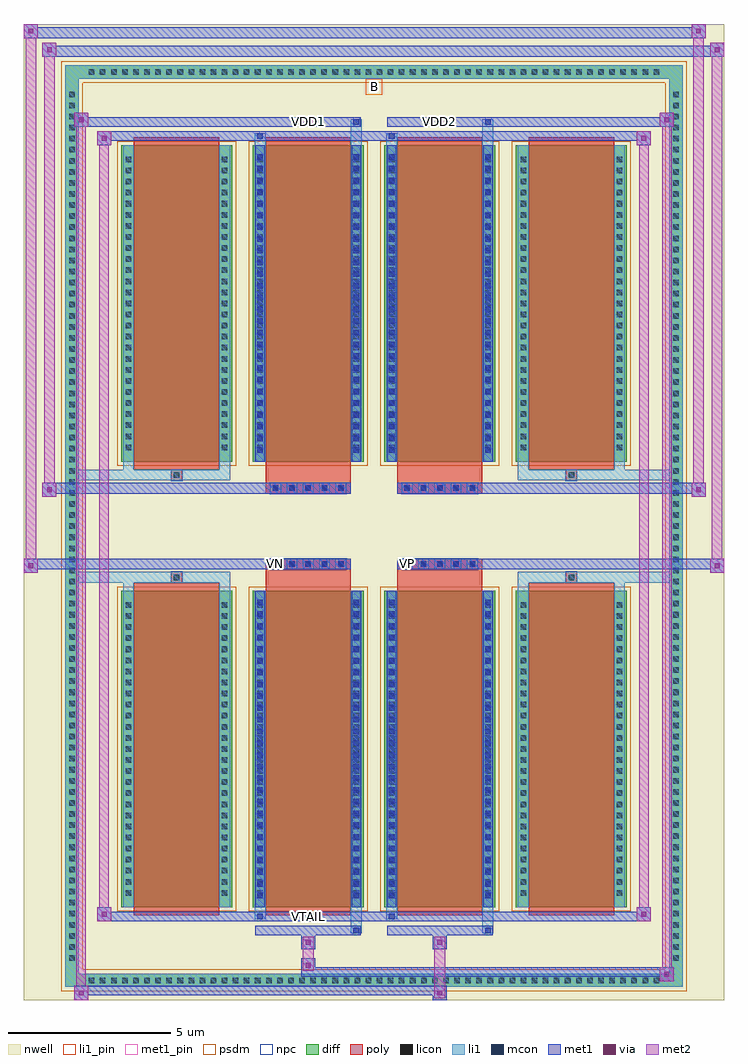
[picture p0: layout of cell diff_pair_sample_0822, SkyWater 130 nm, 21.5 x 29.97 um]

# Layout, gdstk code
import gdstk
lib = gdstk.Library(unit=1e-6, precision=5e-09)
def R(c, l, rs):  # rectangles x0, y0, x1, y1
    for r in rs: c.add(gdstk.rectangle(r[:2], r[2:], *l))
def A(c, l, x, y, w, h, nx, ny, dx, dy):  # array of equal rectangles
    R(c, l, [(x+i*dx, y+j*dy, x+i*dx+w, y+j*dy+h) for i in range(nx) for j in range(ny)])
def P(c, l, *ps):  # polygons
    for p in ps: c.add(gdstk.Polygon(p, *l))
nwell = (64, 20)
diff = (65, 20)
poly = (66, 20)
licon = (66, 44)
li1_pin = (67, 16)
li1 = (67, 20)
mcon = (67, 44)
met1_pin = (68, 16)
met1 = (68, 20)
via = (68, 44)
met2 = (69, 20)
psdm = (94, 20)
npc = (95, 20)

diff_pair_sample_0822 = lib.new_cell('diff_pair_sample_0822')
R(diff_pair_sample_0822, nwell, [(-10.75,-14.55,10.75,15.42), (-8.07,-12.74,-0.01,-0.8), (0.01,-12.74,8.07,-0.8), (-8.07,0.8,-0.01,12.74), (0.01,0.8,8.07,12.74)])
A(diff_pair_sample_0822, diff, -8.875, -14.15, 0.41, 0.41, 52, 2, 0.34, 27.89)
A(diff_pair_sample_0822, diff, -9.48, -13.465, 0.41, 0.41, 1, 79, 0, 0.34)
A(diff_pair_sample_0822, diff, 9.07, -13.465, 0.41, 0.41, 1, 79, 0, 0.34)
A(diff_pair_sample_0822, diff, -7.76, -11.695, 3.4, 9.71, 4, 2, 4.04, 13.68)
R(diff_pair_sample_0822, diff, [(-8.875,-14.15,8.875,-13.74), (-9.48,-13.465,-9.07,13.465), (9.07,-13.465,9.48,13.465), (-8.875,13.74,8.875,14.15)])
P(diff_pair_sample_0822, diff, [(9.48,14.15),(-9.48,14.15),(-9.48,-13.74),(-9.07,-13.74),(-9.07,13.74),(9.07,13.74),(9.07,-13.74),(-9.07,-13.74),(-9.48,-13.74),(-9.48,-14.15),(9.48,-14.15)])
A(diff_pair_sample_0822, poly, -7.37, -11.945, 2.62, 10.21, 4, 2, 4.04, 13.68)
A(diff_pair_sample_0822, poly, -3.185, -1.33, 0.33, 0.33, 5, 2, 0.5, 2.33)
A(diff_pair_sample_0822, poly, 0.855, -1.33, 0.33, 0.33, 5, 2, 0.5, 2.33)
R(diff_pair_sample_0822, poly, [(-6.225,-1.735,-5.895,-1.405), (-6.225,-1.735,-5.895,-1.405), (-3.33,-1.735,-0.71,-1.33), (0.71,-1.735,3.33,-1.33), (5.895,-1.735,6.225,-1.405), (5.895,-1.735,6.225,-1.405), (-3.33,-1.33,-0.71,-1), (0.71,-1.33,3.33,-1), (-3.33,1,-0.71,1.33), (0.71,1,3.33,1.33), (-3.33,1.33,-0.71,1.735), (0.71,1.33,3.33,1.735), (-6.225,1.405,-5.895,1.735), (-6.225,1.405,-5.895,1.735), (5.895,1.405,6.225,1.735), (5.895,1.405,6.225,1.735)])
A(diff_pair_sample_0822, licon, -8.755, -14.03, 0.17, 0.17, 52, 2, 0.34, 27.89)
A(diff_pair_sample_0822, licon, -9.36, -13.345, 0.17, 0.17, 1, 79, 0, 0.34)
A(diff_pair_sample_0822, licon, 9.19, -13.345, 0.17, 0.17, 1, 79, 0, 0.34)
A(diff_pair_sample_0822, licon, -7.62, -11.345, 0.17, 0.17, 1, 27, 0, 0.34)
A(diff_pair_sample_0822, licon, -4.67, -11.345, 0.17, 0.17, 1, 27, 0, 0.34)
A(diff_pair_sample_0822, licon, -3.58, -11.345, 0.17, 0.17, 1, 27, 0, 0.34)
A(diff_pair_sample_0822, licon, -0.63, -11.345, 0.17, 0.17, 1, 27, 0, 0.34)
A(diff_pair_sample_0822, licon, 0.46, -11.345, 0.17, 0.17, 1, 27, 0, 0.34)
A(diff_pair_sample_0822, licon, 3.41, -11.345, 0.17, 0.17, 1, 27, 0, 0.34)
A(diff_pair_sample_0822, licon, 4.5, -11.345, 0.17, 0.17, 1, 27, 0, 0.34)
A(diff_pair_sample_0822, licon, 7.45, -11.345, 0.17, 0.17, 1, 27, 0, 0.34)
A(diff_pair_sample_0822, licon, -3.105, -1.25, 0.17, 0.17, 5, 2, 0.5, 2.33)
A(diff_pair_sample_0822, licon, 0.935, -1.25, 0.17, 0.17, 5, 2, 0.5, 2.33)
A(diff_pair_sample_0822, licon, -7.62, 2.335, 0.17, 0.17, 1, 27, 0, 0.34)
A(diff_pair_sample_0822, licon, -4.67, 2.335, 0.17, 0.17, 1, 27, 0, 0.34)
A(diff_pair_sample_0822, licon, -3.58, 2.335, 0.17, 0.17, 1, 27, 0, 0.34)
A(diff_pair_sample_0822, licon, -0.63, 2.335, 0.17, 0.17, 1, 27, 0, 0.34)
A(diff_pair_sample_0822, licon, 0.46, 2.335, 0.17, 0.17, 1, 27, 0, 0.34)
A(diff_pair_sample_0822, licon, 3.41, 2.335, 0.17, 0.17, 1, 27, 0, 0.34)
A(diff_pair_sample_0822, licon, 4.5, 2.335, 0.17, 0.17, 1, 27, 0, 0.34)
A(diff_pair_sample_0822, licon, 7.45, 2.335, 0.17, 0.17, 1, 27, 0, 0.34)
R(diff_pair_sample_0822, licon, [(-6.145,-1.655,-5.975,-1.485), (5.975,-1.655,6.145,-1.485), (-6.145,1.485,-5.975,1.655), (5.975,1.485,6.145,1.655)])
R(diff_pair_sample_0822, li1_pin, [(-0.25,13.24,0.25,13.74)])
A(diff_pair_sample_0822, li1, -8.835, -14.11, 0.33, 0.33, 52, 2, 0.34, 27.89)
A(diff_pair_sample_0822, li1, -9.44, -13.425, 0.33, 0.33, 1, 79, 0, 0.34)
A(diff_pair_sample_0822, li1, 9.11, -13.425, 0.33, 0.33, 1, 79, 0, 0.34)
A(diff_pair_sample_0822, li1, -7.7, -11.425, 0.33, 0.33, 1, 27, 0, 0.34)
A(diff_pair_sample_0822, li1, -4.75, -11.425, 0.33, 0.33, 1, 27, 0, 0.34)
A(diff_pair_sample_0822, li1, -3.66, -11.425, 0.33, 0.33, 1, 27, 0, 0.34)
A(diff_pair_sample_0822, li1, -3.58, -11.425, 0.17, 0.17, 1, 26, 0, 0.36)
A(diff_pair_sample_0822, li1, -0.71, -11.425, 0.33, 0.33, 1, 27, 0, 0.34)
A(diff_pair_sample_0822, li1, -0.63, -11.425, 0.17, 0.17, 1, 26, 0, 0.36)
A(diff_pair_sample_0822, li1, 0.38, -11.425, 0.33, 0.33, 1, 27, 0, 0.34)
A(diff_pair_sample_0822, li1, 0.46, -11.425, 0.17, 0.17, 1, 26, 0, 0.36)
A(diff_pair_sample_0822, li1, 3.33, -11.425, 0.33, 0.33, 1, 27, 0, 0.34)
A(diff_pair_sample_0822, li1, 3.41, -11.425, 0.17, 0.17, 1, 26, 0, 0.36)
A(diff_pair_sample_0822, li1, 4.42, -11.425, 0.33, 0.33, 1, 27, 0, 0.34)
A(diff_pair_sample_0822, li1, 7.37, -11.425, 0.33, 0.33, 1, 27, 0, 0.34)
A(diff_pair_sample_0822, li1, -3.185, -1.33, 0.33, 0.33, 5, 2, 0.5, 2.33)
A(diff_pair_sample_0822, li1, 0.855, -1.33, 0.33, 0.33, 5, 2, 0.5, 2.33)
A(diff_pair_sample_0822, li1, -7.7, 2.255, 0.33, 0.33, 1, 27, 0, 0.34)
A(diff_pair_sample_0822, li1, -4.75, 2.255, 0.33, 0.33, 1, 27, 0, 0.34)
A(diff_pair_sample_0822, li1, -3.66, 2.255, 0.33, 0.33, 1, 27, 0, 0.34)
A(diff_pair_sample_0822, li1, -3.58, 2.255, 0.17, 0.17, 1, 26, 0, 0.36)
A(diff_pair_sample_0822, li1, -0.71, 2.255, 0.33, 0.33, 1, 27, 0, 0.34)
A(diff_pair_sample_0822, li1, -0.63, 2.255, 0.17, 0.17, 1, 26, 0, 0.36)
A(diff_pair_sample_0822, li1, 0.38, 2.255, 0.33, 0.33, 1, 27, 0, 0.34)
A(diff_pair_sample_0822, li1, 0.46, 2.255, 0.17, 0.17, 1, 26, 0, 0.36)
A(diff_pair_sample_0822, li1, 3.33, 2.255, 0.33, 0.33, 1, 27, 0, 0.34)
A(diff_pair_sample_0822, li1, 3.41, 2.255, 0.17, 0.17, 1, 26, 0, 0.36)
A(diff_pair_sample_0822, li1, 4.42, 2.255, 0.33, 0.33, 1, 27, 0, 0.34)
A(diff_pair_sample_0822, li1, 7.37, 2.255, 0.33, 0.33, 1, 27, 0, 0.34)
R(diff_pair_sample_0822, li1, [(-9.48,-14.15,-9.07,-13.74), (-9.48,-14.15,-9.07,-13.74), (-9.07,-14.15,9.07,-13.74), (9.07,-14.15,9.48,-13.74), (9.07,-14.15,9.48,-13.74), (-9.48,-13.74,-9.07,13.74), (9.07,-13.74,9.48,13.74), (-0.71,-12.5,-0.38,-11.695), (-0.63,-12.5,-0.46,-12.33), (3.33,-12.5,3.66,-11.695), (3.41,-12.5,3.58,-12.33), (-3.66,-12.07,-3.33,-11.695), (-3.58,-12.07,-3.41,-11.9), (0.38,-12.07,0.71,-11.695), (0.46,-12.07,0.63,-11.9), (-7.7,-11.695,-7.37,-1.985), (-4.75,-11.695,-4.42,-1.985), (-3.66,-11.695,-3.33,-1.985), (-0.71,-11.695,-0.38,-1.985), (0.38,-11.695,0.71,-1.985), (3.33,-11.695,3.66,-1.985), (4.42,-11.695,4.75,-1.985), (7.37,-11.695,7.7,-1.985), (-3.58,-11.425,-3.41,-2.255), (-0.63,-11.425,-0.46,-2.255), (0.46,-11.425,0.63,-2.255), (3.41,-11.425,3.58,-2.255), (-7.7,-1.985,-7.37,-1.405), (-4.75,-1.985,-4.42,-1.405), (4.42,-1.985,4.75,-1.405), (7.37,-1.985,7.7,-1.405), (-9.48,-1.735,-6.225,-1.405), (-7.7,-1.735,-6.225,-1.405), (-6.225,-1.735,-5.895,-1.405), (-5.895,-1.735,-4.42,-1.405), (4.42,-1.735,5.895,-1.405), (5.895,-1.735,6.225,-1.405), (5.895,-1.735,9.48,-1.405), (6.225,-1.735,7.7,-1.405), (-9.48,1.405,-6.225,1.735), (-7.7,1.405,-6.225,1.735), (-7.7,1.405,-7.37,1.985), (-6.225,1.405,-5.895,1.735), (-5.895,1.405,-4.42,1.735), (-4.75,1.405,-4.42,1.985), (4.42,1.405,5.895,1.735), (4.42,1.405,4.75,1.985), (5.895,1.405,6.225,1.735), (5.895,1.405,9.48,1.735), (6.225,1.405,7.7,1.735), (7.37,1.405,7.7,1.985), (-7.7,1.985,-7.37,11.695), (-4.75,1.985,-4.42,11.695), (-3.66,1.985,-3.33,11.695), (-0.71,1.985,-0.38,11.695), (0.38,1.985,0.71,11.695), (3.33,1.985,3.66,11.695), (4.42,1.985,4.75,11.695), (7.37,1.985,7.7,11.695), (-3.58,2.255,-3.41,11.425), (-0.63,2.255,-0.46,11.425), (0.46,2.255,0.63,11.425), (3.41,2.255,3.58,11.425), (-3.66,11.695,-3.33,12.07), (-0.71,11.695,-0.38,12.5), (0.38,11.695,0.71,12.07), (3.33,11.695,3.66,12.5), (-3.58,11.9,-3.41,12.07), (0.46,11.9,0.63,12.07), (-0.63,12.33,-0.46,12.5), (3.41,12.33,3.58,12.5), (-9.48,13.74,-9.07,14.15), (-9.48,13.74,-9.07,14.15), (-9.07,13.74,9.07,14.15), (9.07,13.74,9.48,14.15), (9.07,13.74,9.48,14.15)])
A(diff_pair_sample_0822, mcon, -3.58, -11.425, 0.17, 0.17, 1, 26, 0, 0.36)
A(diff_pair_sample_0822, mcon, -0.63, -11.425, 0.17, 0.17, 1, 26, 0, 0.36)
A(diff_pair_sample_0822, mcon, 0.46, -11.425, 0.17, 0.17, 1, 26, 0, 0.36)
A(diff_pair_sample_0822, mcon, 3.41, -11.425, 0.17, 0.17, 1, 26, 0, 0.36)
A(diff_pair_sample_0822, mcon, -3.105, -1.25, 0.17, 0.17, 5, 2, 0.5, 2.33)
A(diff_pair_sample_0822, mcon, 0.935, -1.25, 0.17, 0.17, 5, 2, 0.5, 2.33)
A(diff_pair_sample_0822, mcon, -3.58, 2.255, 0.17, 0.17, 1, 26, 0, 0.36)
A(diff_pair_sample_0822, mcon, -0.63, 2.255, 0.17, 0.17, 1, 26, 0, 0.36)
A(diff_pair_sample_0822, mcon, 0.46, 2.255, 0.17, 0.17, 1, 26, 0, 0.36)
A(diff_pair_sample_0822, mcon, 3.41, 2.255, 0.17, 0.17, 1, 26, 0, 0.36)
R(diff_pair_sample_0822, mcon, [(-0.63,-12.5,-0.46,-12.33), (3.41,-12.5,3.58,-12.33), (-3.58,-12.07,-3.41,-11.9), (0.46,-12.07,0.63,-11.9), (-3.58,11.9,-3.41,12.07), (0.46,11.9,0.63,12.07), (-0.63,12.33,-0.46,12.5), (3.41,12.33,3.58,12.5)])
R(diff_pair_sample_0822, met1_pin, [(-2.155,-12.11,-1.885,-11.84), (-3.155,-1.29,-2.885,-1.02), (0.885,-1.29,1.155,-1.02), (-2.155,12.29,-1.885,12.56), (1.885,12.29,2.155,12.56)])
A(diff_pair_sample_0822, met1, -3.64, -11.485, 0.29, 0.29, 1, 26, 0, 0.36)
A(diff_pair_sample_0822, met1, -0.69, -11.485, 0.29, 0.29, 1, 26, 0, 0.36)
A(diff_pair_sample_0822, met1, 0.4, -11.485, 0.29, 0.29, 1, 26, 0, 0.36)
A(diff_pair_sample_0822, met1, 3.35, -11.485, 0.29, 0.29, 1, 26, 0, 0.36)
A(diff_pair_sample_0822, met1, -3.165, -1.31, 0.29, 0.29, 5, 2, 0.5, 2.33)
A(diff_pair_sample_0822, met1, 0.875, -1.31, 0.29, 0.29, 5, 2, 0.5, 2.33)
A(diff_pair_sample_0822, met1, -3.64, 2.195, 0.29, 0.29, 1, 26, 0, 0.36)
A(diff_pair_sample_0822, met1, -0.69, 2.195, 0.29, 0.29, 1, 26, 0, 0.36)
A(diff_pair_sample_0822, met1, 0.4, 2.195, 0.29, 0.29, 1, 26, 0, 0.36)
A(diff_pair_sample_0822, met1, 3.35, 2.195, 0.29, 0.29, 1, 26, 0, 0.36)
R(diff_pair_sample_0822, met1, [(-9.21,-14.55,-8.78,-14.12), (1.805,-14.55,2.235,-14.12), (-9.21,-14.41,2.235,-14.12), (8.78,-13.98,9.21,-13.55), (-2.235,-13.84,9.21,-13.55), (-2.235,-13.7,-1.805,-13.27), (-2.235,-12.99,-1.805,-12.56), (1.805,-12.99,2.235,-12.56), (-3.64,-12.56,-0.4,-12.27), (-0.69,-12.56,-0.4,-12.27), (0.4,-12.56,3.64,-12.27), (3.35,-12.56,3.64,-12.27), (-8.5,-12.13,-8.07,-11.7), (-8.5,-12.13,-3.64,-11.84), (-3.64,-12.13,-3.35,-11.84), (-3.64,-12.13,-0.4,-11.84), (-0.4,-12.13,0.4,-11.84), (0.4,-12.13,0.69,-11.84), (0.4,-12.13,3.64,-11.84), (3.64,-12.13,8.5,-11.84), (8.07,-12.13,8.5,-11.7), (-3.64,-11.695,-3.35,-1.985), (-0.69,-11.695,-0.4,-1.985), (0.4,-11.695,0.69,-1.985), (3.35,-11.695,3.64,-1.985), (-10.75,-1.43,-10.32,-1), (10.32,-1.43,10.75,-1), (-10.75,-1.33,-0.71,-1), (-3.33,-1.33,-0.71,-1), (0.71,-1.33,3.33,-1), (0.71,-1.33,10.75,-1), (-10.18,0.9,-9.75,1.33), (9.75,0.9,10.18,1.33), (-10.18,1,-3.33,1.33), (-3.33,1,-0.71,1.33), (0.71,1,3.33,1.33), (3.33,1,10.18,1.33), (-3.64,1.985,-3.35,11.695), (-0.69,1.985,-0.4,11.695), (0.4,1.985,0.69,11.695), (3.35,1.985,3.64,11.695), (-8.5,11.7,-8.07,12.13), (8.07,11.7,8.5,12.13), (-8.5,11.84,-3.64,12.13), (-3.64,11.84,-3.35,12.13), (-3.64,11.84,-0.4,12.13), (-0.4,11.84,0.4,12.13), (0.4,11.84,0.69,12.13), (0.4,11.84,3.64,12.13), (3.64,11.84,8.5,12.13), (-9.21,12.27,-8.78,12.7), (-9.21,12.27,-3.64,12.56), (-3.64,12.27,-0.4,12.56), (-0.69,12.27,-0.4,12.56), (0.4,12.27,3.64,12.56), (3.35,12.27,3.64,12.56), (3.64,12.27,9.21,12.56), (8.78,12.27,9.21,12.7), (-10.18,14.42,-9.75,14.85), (-10.18,14.42,-8.07,14.75), (-8.07,14.42,8.07,14.75), (8.07,14.42,10.75,14.75), (10.32,14.42,10.75,14.85), (-10.75,14.99,-10.32,15.42), (-10.75,14.99,-8.07,15.32), (-8.07,14.99,8.07,15.32), (8.07,14.99,10.18,15.32), (9.75,14.99,10.18,15.42)])
R(diff_pair_sample_0822, via, [(-9.07,-14.41,-8.92,-14.26), (1.945,-14.41,2.095,-14.26), (8.92,-13.84,9.07,-13.69), (-2.095,-13.56,-1.945,-13.41), (-2.095,-12.85,-1.945,-12.7), (1.945,-12.85,2.095,-12.7), (-8.36,-11.99,-8.21,-11.84), (8.21,-11.99,8.36,-11.84), (-10.61,-1.29,-10.46,-1.14), (10.46,-1.29,10.61,-1.14), (-10.04,1.04,-9.89,1.19), (9.89,1.04,10.04,1.19), (-8.36,11.84,-8.21,11.99), (8.21,11.84,8.36,11.99), (-9.07,12.41,-8.92,12.56), (8.92,12.41,9.07,12.56), (-10.04,14.56,-9.89,14.71), (10.46,14.56,10.61,14.71), (-10.61,15.13,-10.46,15.28), (9.89,15.13,10.04,15.28)])
R(diff_pair_sample_0822, met2, [(-9.21,-14.55,-8.78,-14.12), (-9.14,-14.55,-8.85,12.7), (-8.85,-14.55,-8.78,-14.12), (-9.16,-14.5,-8.83,-14.17), (1.855,-14.5,2.185,-14.17), (1.855,-14.17,2.185,-12.94), (8.78,-13.98,9.21,-13.55), (8.85,-13.98,9.14,12.7), (9.14,-13.98,9.21,-13.55), (8.83,-13.93,9.16,-13.6), (-2.185,-13.65,-1.855,-13.32), (-2.185,-13.32,-1.855,-12.94), (-2.185,-12.94,-1.855,-12.61), (1.855,-12.94,2.185,-12.61), (-8.5,-12.13,-8.07,-11.7), (-8.43,-12.13,-8.14,12.13), (-8.14,-12.13,-8.07,-11.7), (8.07,-12.13,8.5,-11.7), (8.14,-12.13,8.43,12.13), (8.43,-12.13,8.5,-11.7), (-8.45,-12.08,-8.12,-11.75), (8.12,-12.08,8.45,-11.75), (-10.75,-1.43,-10.32,-1), (-10.7,-1.43,-10.37,15.42), (-10.37,-1.43,-10.32,-1), (10.32,-1.43,10.75,-1), (10.37,-1.43,10.7,14.85), (10.7,-1.43,10.75,-1), (-10.7,-1.38,-10.37,-1.05), (10.37,-1.38,10.7,-1.05), (-10.18,0.9,-9.75,1.33), (-10.13,0.9,-9.8,14.85), (-9.8,0.9,-9.75,1.33), (9.75,0.9,10.18,1.33), (9.8,0.9,10.13,15.42), (10.13,0.9,10.18,1.33), (-10.13,0.95,-9.8,1.28), (9.8,0.95,10.13,1.28), (-8.5,11.7,-8.07,12.13), (-8.14,11.7,-8.07,12.13), (8.07,11.7,8.5,12.13), (8.43,11.7,8.5,12.13), (-8.45,11.75,-8.12,12.08), (8.12,11.75,8.45,12.08), (-9.21,12.27,-8.78,12.7), (-8.85,12.27,-8.78,12.7), (8.78,12.27,9.21,12.7), (9.14,12.27,9.21,12.7), (-9.16,12.32,-8.83,12.65), (8.83,12.32,9.16,12.65), (-10.18,14.42,-9.75,14.85), (-9.8,14.42,-9.75,14.85), (10.32,14.42,10.75,14.85), (10.7,14.42,10.75,14.85), (-10.13,14.47,-9.8,14.8), (10.37,14.47,10.7,14.8), (-10.75,14.99,-10.32,15.42), (-10.37,14.99,-10.32,15.42), (9.75,14.99,10.18,15.42), (10.13,14.99,10.18,15.42), (-10.7,15.04,-10.37,15.37), (9.8,15.04,10.13,15.37)])
A(diff_pair_sample_0822, psdm, -7.89, -11.825, 3.66, 9.97, 4, 2, 4.04, 13.68)
P(diff_pair_sample_0822, psdm, [(9.61,14.28),(-9.61,14.28),(-9.61,-13.61),(-8.94,-13.61),(-8.94,13.61),(8.94,13.61),(8.94,-13.61),(-8.94,-13.61),(-9.61,-13.61),(-9.61,-14.28),(9.61,-14.28)])
A(diff_pair_sample_0822, npc, -3.205, -1.35, 0.37, 0.37, 5, 2, 0.5, 2.33)
A(diff_pair_sample_0822, npc, 0.835, -1.35, 0.37, 0.37, 5, 2, 0.5, 2.33)
R(diff_pair_sample_0822, npc, [(-6.245,-1.755,-5.875,-1.385), (5.875,-1.755,6.245,-1.385), (-3.205,-1.35,-2.335,-0.98), (-3.205,-1.35,-2.335,-0.98), (-2.705,-1.35,-1.835,-0.98), (-2.705,-1.35,-1.835,-0.98), (-2.205,-1.35,-1.335,-0.98), (-2.205,-1.35,-1.335,-0.98), (-1.705,-1.35,-0.835,-0.98), (-1.705,-1.35,-0.835,-0.98), (0.835,-1.35,1.705,-0.98), (0.835,-1.35,1.705,-0.98), (1.335,-1.35,2.205,-0.98), (1.335,-1.35,2.205,-0.98), (1.835,-1.35,2.705,-0.98), (1.835,-1.35,2.705,-0.98), (2.335,-1.35,3.205,-0.98), (2.335,-1.35,3.205,-0.98), (-3.205,0.98,-2.335,1.35), (-3.205,0.98,-2.335,1.35), (-2.705,0.98,-1.835,1.35), (-2.705,0.98,-1.835,1.35), (-2.205,0.98,-1.335,1.35), (-2.205,0.98,-1.335,1.35), (-1.705,0.98,-0.835,1.35), (-1.705,0.98,-0.835,1.35), (0.835,0.98,1.705,1.35), (0.835,0.98,1.705,1.35), (1.335,0.98,2.205,1.35), (1.335,0.98,2.205,1.35), (1.835,0.98,2.705,1.35), (1.835,0.98,2.705,1.35), (2.335,0.98,3.205,1.35), (2.335,0.98,3.205,1.35), (-6.245,1.385,-5.875,1.755), (5.875,1.385,6.245,1.755)])
diff_pair_sample_0822.add(gdstk.Label('VTAIL', (-2.02,-11.975), layer=68, texttype=5))
diff_pair_sample_0822.add(gdstk.Label('VN', (-3.02,-1.155), layer=68, texttype=5))
diff_pair_sample_0822.add(gdstk.Label('VP', (1.02,-1.155), layer=68, texttype=5))
diff_pair_sample_0822.add(gdstk.Label('B', (0,13.49), layer=67, texttype=5))
diff_pair_sample_0822.add(gdstk.Label('VDD2', (2.02,12.425), layer=68, texttype=5))
diff_pair_sample_0822.add(gdstk.Label('VDD1', (-2.02,12.425), layer=68, texttype=5))

lib.write_gds('diff_pair_sample_0822.gds')
